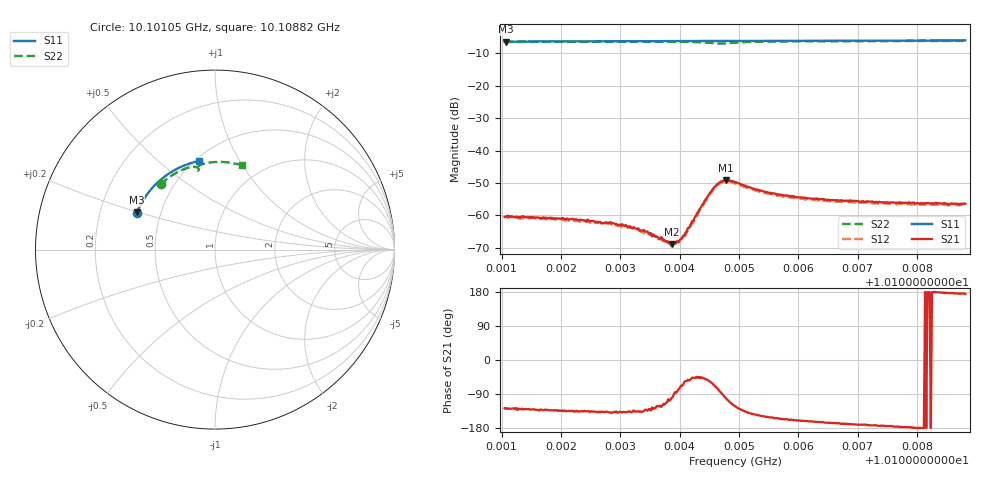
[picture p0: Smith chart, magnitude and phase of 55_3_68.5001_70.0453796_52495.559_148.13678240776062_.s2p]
#  HZ  S  RI  R  50.00
! Rohde & Schwarz Vector Network Analyzer
! Rohde-Schwarz,ZNB20-2Port,1311601062101988,3.16
! Created: UTC 3/20/2024, 5:06:10 PM
! freq[Hz]  re:S11  im:S11  re:S21  im:S21  re:S12  im:S12  re:S22  im:S22
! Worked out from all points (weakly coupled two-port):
!   401 points, 10.10105 GHz to 10.10882 GHz, reference 50 ohm
!   highest |S21| = -49.11 dB at 10.10478 GHz (marker M1); lowest = -68.8 dB at 10.10386 GHz (marker M2)
!   lowest |S11| = -6.3 dB at 10.10107 GHz (marker M3), VSWR 2.86, Z = 18.3 + j9.85 ohm
!   |S11| at or under -10 dB: nowhere
!   |S22| runs from -6.9 to -6.1 dB; largest |S21 - S12| = 0.00038
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1.0101049e10  -0.4357 0.2058  -0.000569 -0.000754  -0.000493 -0.000777  -0.3036 0.3643
1.0101069e10  -0.4351 0.207  -0.000602 -0.000748  -0.000507 -0.000812  -0.3029 0.3652
1.010235e10  -0.3997 0.2764  -0.000598 -0.000608  -0.000543 -0.000623  -0.2364 0.4156
1.0102855e10  -0.3826 0.302  -0.000573 -0.00049  -0.000505 -0.000524  -0.2076 0.4321
1.0103146e10  -0.3721 0.3162  -0.00048 -0.000471  -0.000431 -0.000494  -0.1902 0.4408
1.0103418e10  -0.362 0.3292  -0.00037 -0.000421  -0.000343 -0.000431  -0.173 0.448
1.0103651e10  -0.3528 0.34  -0.000242 -0.000376  -0.000193 -0.000402  -0.1578 0.4538
1.0103787e10  -0.3472 0.3461  -0.000148 -0.000371  -0.000122 -0.000374  -0.1483 0.4567
1.0103865e10  -0.344 0.3496  -6.8e-05 -0.000358  -2.67e-05 -0.000334  -0.1427 0.4583
1.0103962e10  -0.34 0.3539  5.47e-05 -0.000396  0.000115 -0.000391  -0.1357 0.4597
1.010402e10  -0.3376 0.3565  0.000162 -0.000408  0.000178 -0.000382  -0.1311 0.4605
1.0104117e10  -0.3334 0.3608  0.00032 -0.000467  0.000332 -0.000436  -0.1235 0.4614
1.0104409e10  -0.3207 0.373  0.00107 -0.00119  0.00108 -0.00105  -0.099 0.457
1.0104545e10  -0.3146 0.3785  0.00119 -0.00214  0.00129 -0.00195  -0.0913 0.4481
1.0104661e10  -0.3094 0.383  0.000547 -0.00311  0.000809 -0.00295  -0.0929 0.4402
1.0104778e10  -0.3041 0.3876  -0.000619 -0.00345  -0.000318 -0.00336  -0.0999 0.441
1.0104933e10  -0.2972 0.3938  -0.00173 -0.00277  -0.00142 -0.00281  -0.1013 0.4526
1.0105244e10  -0.2824 0.4055  -0.00206 -0.00156  -0.00186 -0.00168  -0.0828 0.4707
1.0105515e10  -0.2691 0.4152  -0.00197 -0.00107  -0.00179 -0.00121  -0.0636 0.4783
1.0106234e10  -0.2324 0.4388  -0.00173 -0.000562  -0.00163 -0.000664  -0.0143 0.4869
1.0107535e10  -0.1614 0.4725  -0.00156 -0.000159  -0.00149 -0.000266  0.0707 0.486
1.0108816e10  -0.0871 0.494  -0.00151 0.000154  -0.00141 -1.4e-05  0.151 0.4701
